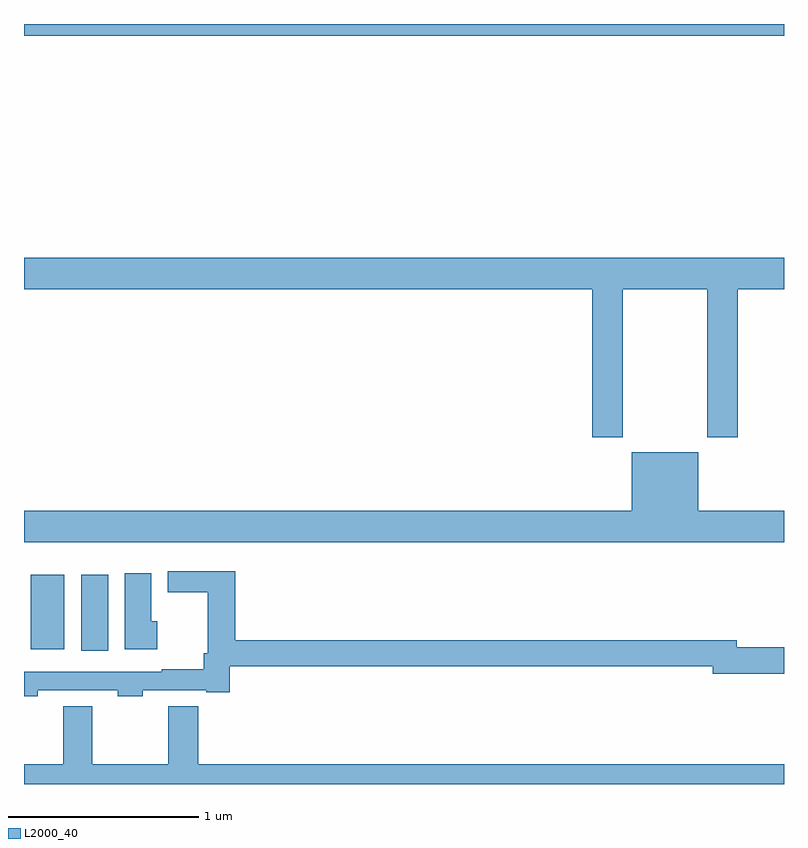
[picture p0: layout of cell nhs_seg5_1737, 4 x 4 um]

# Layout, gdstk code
import gdstk
lib = gdstk.Library(unit=1e-6, precision=1e-09)
def R(c, l, rs):  # rectangles x0, y0, x1, y1
    for r in rs: c.add(gdstk.rectangle(r[:2], r[2:], *l))
def P(c, l, *ps):  # polygons
    for p in ps: c.add(gdstk.Polygon(p, *l))
L2000_40 = (2000, 40)

nhs_seg5_1737 = lib.new_cell('nhs_seg5_1737')
R(nhs_seg5_1737, L2000_40, [(215.3,877.5,215.443,877.9), (215.036,877.508,215.212,877.9), (215,880.736,219,880.799)])
P(nhs_seg5_1737, L2000_40, [(218.151,879.404),(218.596,879.404),(218.596,878.625),(218.756,878.625),(218.756,879.404),(219,879.404),(219,879.568),(215,879.568),(215,879.404),(217.991,879.404),(217.991,878.625),(218.151,878.625)],
  [(219,878.236),(218.548,878.236),(218.548,878.545),(218.198,878.545),(218.198,878.236),(215,878.236),(215,878.072),(219,878.072)],
  [(215.073,877.293),(215.493,877.293),(215.493,877.261),(215.625,877.261),(215.625,877.293),(215.96,877.293),(215.96,877.281),(216.083,877.281),(216.083,877.42),(218.624,877.42),(218.624,877.378),(219,877.378),(219,877.52),(218.752,877.52),(218.752,877.556),(216.113,877.556),(216.113,877.918),(215.757,877.918),(215.757,877.809),(215.966,877.809),(215.966,877.486),(215.947,877.486),(215.947,877.402),(215.725,877.402),(215.725,877.389),(215,877.389),(215,877.261),(215.073,877.261)],
  [(215.701,877.656),(215.671,877.656),(215.671,877.909),(215.531,877.909),(215.531,877.508),(215.701,877.508)],
  [(219,876.904),(215.918,876.904),(215.918,877.208),(215.758,877.208),(215.758,876.904),(215.36,876.904),(215.36,877.208),(215.206,877.208),(215.206,876.904),(215,876.904),(215,876.799),(219,876.799)])

lib.write_gds('nhs_seg5_1737.gds')
